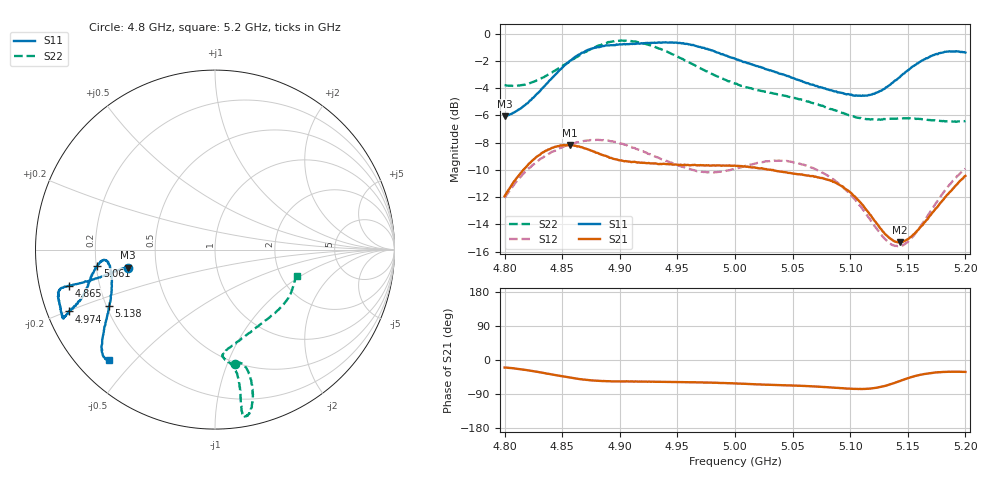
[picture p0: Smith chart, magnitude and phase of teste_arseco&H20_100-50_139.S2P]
! Network Analyzer HP8722D
! Hewlett-Packard
! Data name: Linha & Wilkinson
! Saver's name: Rodrigo Anjos
! Comments: Teste da utilização de aquisição
! continua pelo VNA HP8722D
! Time and date: 6/5/2025 13:43
!  Frequency  S11  S21  S12  S22
# HZ  S  MA R 50
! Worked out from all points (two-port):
!   401 points, 4.8 GHz to 5.2 GHz, reference 50 ohm
!   highest |S21| = -8.17 dB at 4.857 GHz (marker M1); lowest = -15.3 dB at 5.143 GHz (marker M2)
!   |S21| within 3 dB of the highest: 4.806 GHz to 5.092 GHz (286.2 MHz wide, 5.78 % of centre); 5.191399 GHz to end of sweep
!   lowest |S11| = -6.1 dB at 4.8 GHz (marker M3), VSWR 2.98, Z = 16.9 - j4.54 ohm
!   |S11| at or under -10 dB: nowhere
!   |S22| runs from -6.5 to -0.5 dB; largest |S21 - S12| = 0.62
!   S11 on the Smith chart (normalised r, x): 4.8 GHz: 0.34, -0.09; 4.865 GHz: 0.09, -0.12; 4.974 GHz: 0.06, -0.20; 5.061 GHz: 0.20, -0.07; 5.138 GHz: 0.21, -0.24; 5.2 GHz: 0.09, -0.42
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4.8e9  0.4978 -168.3  0.2533 -19.8  0.2494 -141.1  0.6478 -80.3
4.828e9  0.6018 -167.2  0.3539 -30.9  0.3382 -145.1  0.6752 -75.5
4.857e9  0.7971 -166.0  0.3906 -46.6  0.3926 -150.5  0.7938 -74.9
4.865e9  0.8393 -166.2  0.3852 -50.2  0.401 -151.9  0.8337 -75.3
4.867e9  0.8515 -166.0  0.3834 -51.1  0.4023 -152.2  0.8444 -75.5
4.9e9  0.915 -162.7  0.3429 -56.5  0.3958 -156.7  0.9422 -79.3
4.934e9  0.9288 -156.7  0.3321 -57.7  0.3501 -155.8  0.8821 -80.6
4.95e9  0.9256 -155.8  0.3303 -58.3  0.3292 -152.9  0.8246 -80.0
4.974e9  0.8831 -157.0  0.328 -59.5  0.3111 -145.7  0.7322 -79.6
5e9  0.8104 -159.3  0.3278 -61.9  0.3195 -137.4  0.6559 -81.4
5.036e9  0.722 -165.8  0.3136 -66.0  0.3414 -134.6  0.6007 -85.7
5.061e9  0.6618 -172.2  0.3023 -68.6  0.3288 -136.5  0.5688 -84.0
5.067e9  0.6504 -173.2  0.3001 -69.2  0.3221 -136.9  0.5574 -82.7
5.084e9  0.6198 -174.7  0.2889 -72.7  0.2943 -138.5  0.5284 -76.2
5.101e9  0.5981 -172.1  0.2598 -75.9  0.2546 -138.9  0.5003 -66.4
5.116e9  0.5956 -165.5  0.2205 -75.9  0.2117 -135.5  0.4858 -55.7
5.134e9  0.6476 -154.1  0.178 -65.0  0.1702 -120.5  0.4881 -43.3
5.138e9  0.6683 -151.9  0.1732 -61.0  0.167 -115.4  0.488 -40.8
5.143e9  0.6924 -149.4  0.1714 -55.7  0.1661 -108.8  0.489 -38.0
5.154e9  0.7571 -144.6  0.1816 -44.3  0.1794 -95.0  0.4893 -32.3
5.173e9  0.8362 -139.0  0.2246 -33.4  0.2337 -80.9  0.4815 -24.3
5.2e9  0.8531 -133.8  0.3007 -31.5  0.3194 -77.1  0.4782 -17.6
